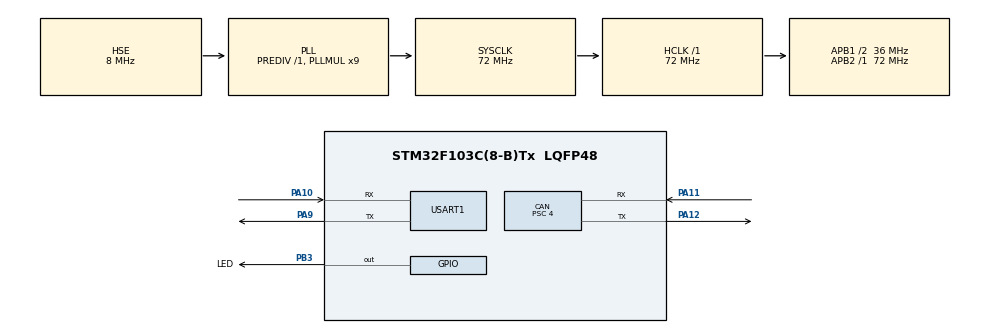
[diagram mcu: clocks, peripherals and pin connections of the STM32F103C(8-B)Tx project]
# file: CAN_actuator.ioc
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CAN.BS1=CAN_BS1_13TQ
CAN.BS2=CAN_BS2_4TQ
CAN.CalculateBaudRate=500000
CAN.CalculateTimeBit=2000
CAN.CalculateTimeQuantum=111.11111111111111
CAN.NART=ENABLE
CAN.Prescaler=4
CAN.SJW=CAN_SJW_2TQ
Mcu.Family=STM32F1
Mcu.Name=STM32F103C(8-B)Tx
Mcu.Package=LQFP48
NVIC.CAN1_RX1_IRQn=true\:0\:0\:false\:false\:true\:true\:true\:true
NVIC.PriorityGroup=NVIC_PRIORITYGROUP_4
PA10.Mode=Asynchronous
PA10.Signal=USART1_RX
PA11.Mode=CAN_Activate
PA11.Signal=CAN_RX
PA12.Mode=CAN_Activate
PA12.Signal=CAN_TX
PA13.Mode=Serial_Wire
PA13.Signal=SYS_JTMS-SWDIO
PA14.Mode=Serial_Wire
PA14.Signal=SYS_JTCK-SWCLK
PA9.Mode=Asynchronous
PA9.Signal=USART1_TX
PB3.GPIO_Label=LED
PB3.GPIO_Speed=GPIO_SPEED_FREQ_HIGH
PB3.Signal=GPIO_Output
PD0-OSC_IN.Mode=HSE-External-Oscillator
PD0-OSC_IN.Signal=RCC_OSC_IN
PD1-OSC_OUT.Mode=HSE-External-Oscillator
PD1-OSC_OUT.Signal=RCC_OSC_OUT
ProjectManager.HeapSize=0x200
ProjectManager.StackSize=0x400
ProjectManager.TargetToolchain=STM32CubeIDE
RCC.AHBFreq_Value=72000000
RCC.APB1CLKDivider=RCC_HCLK_DIV2
RCC.APB1Freq_Value=36000000
RCC.APB1TimFreq_Value=72000000
RCC.APB2Freq_Value=72000000
RCC.APB2TimFreq_Value=72000000
RCC.HCLKFreq_Value=72000000
RCC.PLLMUL=RCC_PLL_MUL9
RCC.PLLSourceVirtual=RCC_PLLSOURCE_HSE
RCC.SYSCLKFreq_VALUE=72000000
RCC.SYSCLKSource=RCC_SYSCLKSOURCE_PLLCLK
RCC.USBFreq_Value=72000000
USART1.VirtualMode=VM_ASYNC
board=custom

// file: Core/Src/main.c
/* USER CODE BEGIN Header */
/**
  ******************************************************************************
  * @file           : main.c
  * @brief          : Main program body
  ******************************************************************************
  * @attention
  *
  * <h2><center>&copy; Copyright (c) 2021 STMicroelectronics.
  * All rights reserved.</center></h2>
  *
  * This software component is licensed by ST under BSD 3-Clause license,
  * the "License"; You may not use this file except in compliance with the
  * License. You may obtain a copy of the License at:
  *                        opensource.org/licenses/BSD-3-Clause
  *
  ******************************************************************************
  */
/* USER CODE END Header */
#include "main.h"

/* USER CODE BEGIN Includes */
#include "stdint.h"
#include "string.h"
#include "stdio.h"
/* USER CODE END Includes */

CAN_HandleTypeDef hcan;

UART_HandleTypeDef huart1;

/* USER CODE BEGIN PV */
CAN_TxHeaderTypeDef TxHeader;
CAN_RxHeaderTypeDef RxHeader;

uint32_t TxMailbox;

uint8_t TxData[8] = "Bye bye!";
uint8_t RxData[8];

uint8_t Tx_Buffer[58];

uint8_t data_catch = 0;
/* USER CODE END PV */

void SystemClock_Config(void);
static void MX_GPIO_Init(void);
static void MX_CAN_Init(void);
static void MX_USART1_UART_Init(void);

/* USER CODE BEGIN 0 */

void HAL_CAN_RxFifo1MsgPendingCallback(CAN_HandleTypeDef *hcan)
{
	if(HAL_CAN_GetRxMessage(hcan, CAN_RX_FIFO1, &RxHeader, RxData) != HAL_OK)
	{
		Error_Handler();
	}
	else
	{
		data_catch = 1;
	}
}
/* USER CODE END 0 */

int main(void)
{

  /* MCU Configuration--------------------------------------------------------*/

  /* Reset of all peripherals, Initializes the Flash interface and the Systick. */
  HAL_Init();

  /* Configure the system clock */
  SystemClock_Config();

  /* Initialize all configured peripherals */
  MX_GPIO_Init();
  MX_CAN_Init();
  MX_USART1_UART_Init();
  /* USER CODE BEGIN 2 */

  HAL_CAN_Init(&hcan);

  //Send notify signal to recieve message from actuator node
  HAL_CAN_ActivateNotification(&hcan, CAN_IT_RX_FIFO1_MSG_PENDING);

  CAN_FilterTypeDef canfilterconfig;

  canfilterconfig.FilterActivation = CAN_FILTER_ENABLE;
  canfilterconfig.FilterBank = 1;  // anything between 0 to SlaveStartFilterBank
  canfilterconfig.FilterFIFOAssignment = CAN_RX_FIFO1;
  canfilterconfig.FilterIdHigh = 0x555 << 5;
  canfilterconfig.FilterIdLow = 0x0000;
  canfilterconfig.FilterMaskIdHigh = 0x555 << 5;
  canfilterconfig.FilterMaskIdLow = 0x0000;
  canfilterconfig.FilterMode = CAN_FILTERMODE_IDMASK;
  canfilterconfig.FilterScale = CAN_FILTERSCALE_32BIT;
  //canfilterconfig.SlaveStartFilterBank = 14;

  HAL_CAN_ConfigFilter(&hcan, &canfilterconfig);

  HAL_CAN_Start(&hcan);

  //Config CAN Tx header
  TxHeader.DLC = 8;
  TxHeader.ExtId = 0;
  TxHeader.IDE = CAN_ID_STD;
  TxHeader.RTR = CAN_RTR_DATA;
  TxHeader.StdId = 0x2AA;
  TxHeader.TransmitGlobalTime = DISABLE;

  /* USER CODE END 2 */

  /* Infinite loop */
  /* USER CODE BEGIN WHILE */
  while (1)
  {
	  HAL_Delay(1000);

	  if(data_catch==1)
	  {
		  //print oled debugger
		  memset(Tx_Buffer,0,sizeof(Tx_Buffer)); //clear buffer before write
		  sprintf((char*)Tx_Buffer,"\nACTUATOR NODE\nTxID:%lu\nTx:%s\nRxID:%lu\nRx:%s",TxHeader.StdId,TxData,RxHeader.StdId,RxData);
		  HAL_UART_Transmit(&huart1,Tx_Buffer,sizeof(Tx_Buffer), 10);

		  //turn on led
		  HAL_GPIO_WritePin(GPIOB, GPIO_PIN_3,GPIO_PIN_SET);

		  HAL_Delay(500); //delay 500ms before sending back

		  if (HAL_CAN_AddTxMessage(&hcan, &TxHeader, TxData, &TxMailbox) != HAL_OK)
		  {
			  Error_Handler();
		  } else //Transmit oke
		  {
			  //turn on led
			   HAL_GPIO_WritePin(GPIOB, GPIO_PIN_3,GPIO_PIN_RESET);
		  }

		  data_catch = 0;
	  } else if(data_catch == 0)
	  {
		  //do nothing
	  }

    /* USER CODE END WHILE */

  }
}

void SystemClock_Config(void)
{
  RCC_OscInitTypeDef RCC_OscInitStruct = {0};
  RCC_ClkInitTypeDef RCC_ClkInitStruct = {0};

  /** Initializes the RCC Oscillators according to the specified parameters
  * in the RCC_OscInitTypeDef structure.
  */
  RCC_OscInitStruct.OscillatorType = RCC_OSCILLATORTYPE_HSE;
  RCC_OscInitStruct.HSEState = RCC_HSE_ON;
  RCC_OscInitStruct.HSEPredivValue = RCC_HSE_PREDIV_DIV1;
  RCC_OscInitStruct.HSIState = RCC_HSI_ON;
  RCC_OscInitStruct.PLL.PLLState = RCC_PLL_ON;
  RCC_OscInitStruct.PLL.PLLSource = RCC_PLLSOURCE_HSE;
  RCC_OscInitStruct.PLL.PLLMUL = RCC_PLL_MUL9;
  if (HAL_RCC_OscConfig(&RCC_OscInitStruct) != HAL_OK)
  {
    Error_Handler();
  }

  /** Initializes the CPU, AHB and APB buses clocks
  */
  RCC_ClkInitStruct.ClockType = RCC_CLOCKTYPE_HCLK|RCC_CLOCKTYPE_SYSCLK
                              |RCC_CLOCKTYPE_PCLK1|RCC_CLOCKTYPE_PCLK2;
  RCC_ClkInitStruct.SYSCLKSource = RCC_SYSCLKSOURCE_PLLCLK;
  RCC_ClkInitStruct.AHBCLKDivider = RCC_SYSCLK_DIV1;
  RCC_ClkInitStruct.APB1CLKDivider = RCC_HCLK_DIV2;
  RCC_ClkInitStruct.APB2CLKDivider = RCC_HCLK_DIV1;

  if (HAL_RCC_ClockConfig(&RCC_ClkInitStruct, FLASH_LATENCY_2) != HAL_OK)
  {
    Error_Handler();
  }
}

static void MX_CAN_Init(void)
{

  hcan.Instance = CAN1;
  hcan.Init.Prescaler = 4;
  hcan.Init.Mode = CAN_MODE_NORMAL;
  hcan.Init.SyncJumpWidth = CAN_SJW_2TQ;
  hcan.Init.TimeSeg1 = CAN_BS1_13TQ;
  hcan.Init.TimeSeg2 = CAN_BS2_4TQ;
  hcan.Init.TimeTriggeredMode = DISABLE;
  hcan.Init.AutoBusOff = DISABLE;
  hcan.Init.AutoWakeUp = DISABLE;
  hcan.Init.AutoRetransmission = ENABLE;
  hcan.Init.ReceiveFifoLocked = DISABLE;
  hcan.Init.TransmitFifoPriority = DISABLE;
  if (HAL_CAN_Init(&hcan) != HAL_OK)
  {
    Error_Handler();
  }

}

static void MX_USART1_UART_Init(void)
{

  huart1.Instance = USART1;
  huart1.Init.BaudRate = 115200;
  huart1.Init.WordLength = UART_WORDLENGTH_8B;
  huart1.Init.StopBits = UART_STOPBITS_1;
  huart1.Init.Parity = UART_PARITY_NONE;
  huart1.Init.Mode = UART_MODE_TX_RX;
  huart1.Init.HwFlowCtl = UART_HWCONTROL_NONE;
  huart1.Init.OverSampling = UART_OVERSAMPLING_16;
  if (HAL_UART_Init(&huart1) != HAL_OK)
  {
    Error_Handler();
  }

}

static void MX_GPIO_Init(void)
{
  GPIO_InitTypeDef GPIO_InitStruct = {0};

  /* GPIO Ports Clock Enable */
  __HAL_RCC_GPIOD_CLK_ENABLE();
  __HAL_RCC_GPIOA_CLK_ENABLE();
  __HAL_RCC_GPIOB_CLK_ENABLE();

  /*Configure GPIO pin Output Level */
  HAL_GPIO_WritePin(LED_GPIO_Port, LED_Pin, GPIO_PIN_RESET);

  /*Configure GPIO pin : LED_Pin */
  GPIO_InitStruct.Pin = LED_Pin;
  GPIO_InitStruct.Mode = GPIO_MODE_OUTPUT_PP;
  GPIO_InitStruct.Pull = GPIO_NOPULL;
  GPIO_InitStruct.Speed = GPIO_SPEED_FREQ_HIGH;
  HAL_GPIO_Init(LED_GPIO_Port, &GPIO_InitStruct);

}

void Error_Handler(void)
{
  /* USER CODE BEGIN Error_Handler_Debug */
  /* User can add his own implementation to report the HAL error return state */
  __disable_irq();
  while (1)
  {
	  memset(Tx_Buffer,0,sizeof(Tx_Buffer)); //clear buffer before write
	  sprintf((char*)Tx_Buffer,"CAN sensor node ERROR\n");
	  HAL_UART_Transmit(&huart1,Tx_Buffer,sizeof(Tx_Buffer), 10);
	  HAL_Delay(500);
  }
  /* USER CODE END Error_Handler_Debug */
}
